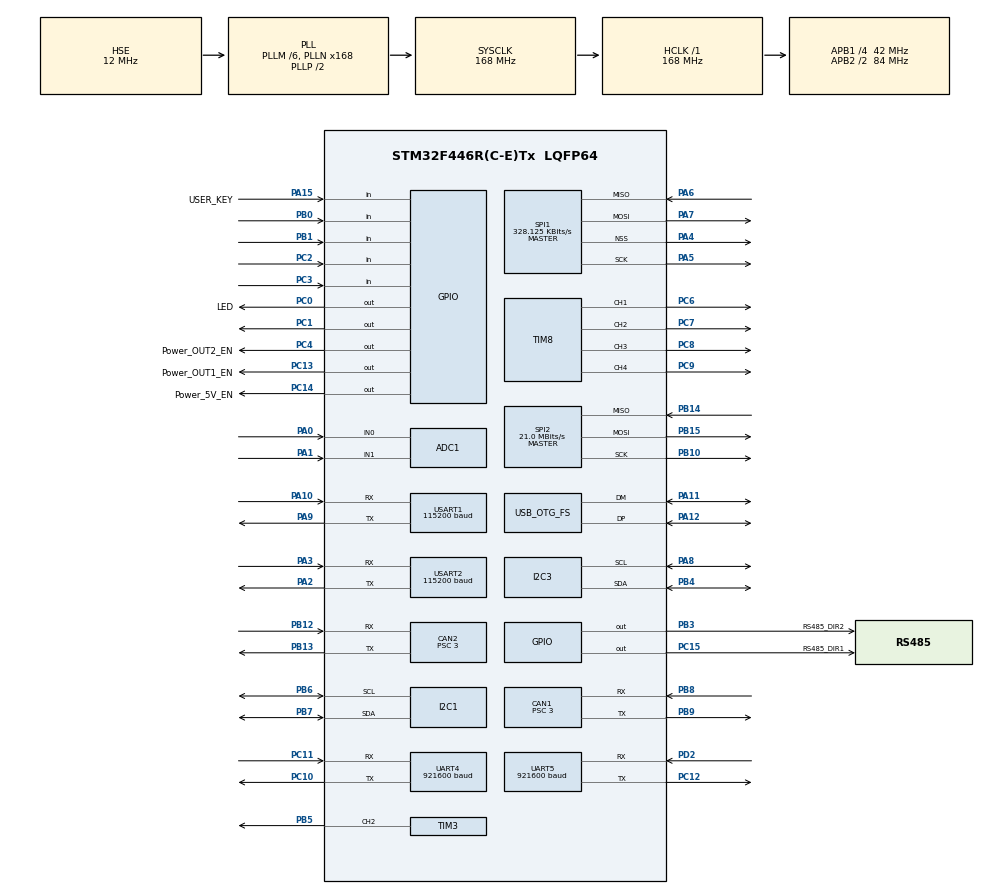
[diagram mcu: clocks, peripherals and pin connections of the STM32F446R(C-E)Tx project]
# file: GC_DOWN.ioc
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ADC1.Channel-0\#ChannelRegularConversion=ADC_CHANNEL_0
ADC1.NbrOfConversionFlag=1
ADC1.Rank-0\#ChannelRegularConversion=1
ADC1.SamplingTime-0\#ChannelRegularConversion=ADC_SAMPLETIME_3CYCLES
ADC1.master=1
CAN1.BS1=CAN_BS1_10TQ
CAN1.BS2=CAN_BS2_3TQ
CAN1.CalculateBaudRate=1000000
CAN1.CalculateTimeBit=1000
CAN1.CalculateTimeQuantum=71.42857142857143
CAN1.Prescaler=3
CAN1.SJW=CAN_SJW_1TQ
CAN2.BS1=CAN_BS1_10TQ
CAN2.BS2=CAN_BS2_3TQ
CAN2.CalculateBaudRate=1000000
CAN2.CalculateTimeBit=1000
CAN2.CalculateTimeQuantum=71.42857142857143
CAN2.Prescaler=3
CAN2.SJW=CAN_SJW_2TQ
Dma.Request0=SPI1_RX
Dma.Request1=SPI1_TX
Dma.Request2=USART1_RX
Dma.Request3=USART1_TX
Dma.Request4=USART2_RX
Dma.Request5=USART2_TX
Dma.SPI1_RX.0.Direction=DMA_PERIPH_TO_MEMORY
Dma.SPI1_RX.0.FIFOMode=DMA_FIFOMODE_DISABLE
Dma.SPI1_RX.0.Instance=DMA2_Stream0
Dma.SPI1_RX.0.MemDataAlignment=DMA_MDATAALIGN_BYTE
Dma.SPI1_RX.0.MemInc=DMA_MINC_ENABLE
Dma.SPI1_RX.0.Mode=DMA_NORMAL
Dma.SPI1_RX.0.PeriphDataAlignment=DMA_PDATAALIGN_BYTE
Dma.SPI1_RX.0.PeriphInc=DMA_PINC_DISABLE
Dma.SPI1_RX.0.Priority=DMA_PRIORITY_VERY_HIGH
Dma.SPI1_TX.1.Direction=DMA_MEMORY_TO_PERIPH
Dma.SPI1_TX.1.FIFOMode=DMA_FIFOMODE_DISABLE
Dma.SPI1_TX.1.Instance=DMA2_Stream3
Dma.SPI1_TX.1.MemDataAlignment=DMA_MDATAALIGN_BYTE
Dma.SPI1_TX.1.MemInc=DMA_MINC_ENABLE
Dma.SPI1_TX.1.Mode=DMA_NORMAL
Dma.SPI1_TX.1.PeriphDataAlignment=DMA_PDATAALIGN_BYTE
Dma.SPI1_TX.1.PeriphInc=DMA_PINC_DISABLE
Dma.SPI1_TX.1.Priority=DMA_PRIORITY_HIGH
Dma.USART1_RX.2.Direction=DMA_PERIPH_TO_MEMORY
Dma.USART1_RX.2.FIFOMode=DMA_FIFOMODE_DISABLE
Dma.USART1_RX.2.Instance=DMA2_Stream2
Dma.USART1_RX.2.MemDataAlignment=DMA_MDATAALIGN_BYTE
Dma.USART1_RX.2.MemInc=DMA_MINC_ENABLE
Dma.USART1_RX.2.Mode=DMA_NORMAL
Dma.USART1_RX.2.PeriphDataAlignment=DMA_PDATAALIGN_BYTE
Dma.USART1_RX.2.PeriphInc=DMA_PINC_DISABLE
Dma.USART1_RX.2.Priority=DMA_PRIORITY_VERY_HIGH
Dma.USART1_TX.3.Direction=DMA_MEMORY_TO_PERIPH
Dma.USART1_TX.3.FIFOMode=DMA_FIFOMODE_DISABLE
Dma.USART1_TX.3.Instance=DMA2_Stream7
Dma.USART1_TX.3.MemDataAlignment=DMA_MDATAALIGN_BYTE
Dma.USART1_TX.3.MemInc=DMA_MINC_ENABLE
Dma.USART1_TX.3.Mode=DMA_NORMAL
Dma.USART1_TX.3.PeriphDataAlignment=DMA_PDATAALIGN_BYTE
Dma.USART1_TX.3.PeriphInc=DMA_PINC_DISABLE
Dma.USART1_TX.3.Priority=DMA_PRIORITY_VERY_HIGH
Dma.USART2_RX.4.Direction=DMA_PERIPH_TO_MEMORY
Dma.USART2_RX.4.FIFOMode=DMA_FIFOMODE_DISABLE
Dma.USART2_RX.4.Instance=DMA1_Stream5
Dma.USART2_RX.4.MemDataAlignment=DMA_MDATAALIGN_BYTE
Dma.USART2_RX.4.MemInc=DMA_MINC_ENABLE
Dma.USART2_RX.4.Mode=DMA_NORMAL
Dma.USART2_RX.4.PeriphDataAlignment=DMA_PDATAALIGN_BYTE
Dma.USART2_RX.4.PeriphInc=DMA_PINC_DISABLE
Dma.USART2_RX.4.Priority=DMA_PRIORITY_VERY_HIGH
Dma.USART2_TX.5.Direction=DMA_MEMORY_TO_PERIPH
Dma.USART2_TX.5.FIFOMode=DMA_FIFOMODE_DISABLE
Dma.USART2_TX.5.Instance=DMA1_Stream6
Dma.USART2_TX.5.MemDataAlignment=DMA_MDATAALIGN_BYTE
Dma.USART2_TX.5.MemInc=DMA_MINC_ENABLE
Dma.USART2_TX.5.Mode=DMA_NORMAL
Dma.USART2_TX.5.PeriphDataAlignment=DMA_PDATAALIGN_BYTE
Dma.USART2_TX.5.PeriphInc=DMA_PINC_DISABLE
Dma.USART2_TX.5.Priority=DMA_PRIORITY_MEDIUM
FREERTOS.Tasks01=defaultTask,0,128,StartDefaultTask,Default,NULL,Dynamic,NULL,NULL
I2C3.I2C_Mode=I2C_Fast
Mcu.Family=STM32F4
Mcu.Name=STM32F446R(C-E)Tx
Mcu.Package=LQFP64
NVIC.CAN1_RX0_IRQn=true\:5\:0\:false\:false\:true\:true\:true\:true\:true
NVIC.CAN1_TX_IRQn=true\:5\:0\:false\:false\:true\:true\:true\:true\:true
NVIC.CAN2_RX0_IRQn=true\:5\:0\:false\:false\:true\:true\:true\:true\:true
NVIC.CAN2_TX_IRQn=true\:5\:0\:false\:false\:true\:true\:true\:true\:true
NVIC.DMA1_Stream5_IRQn=true\:5\:0\:false\:false\:true\:true\:false\:true\:true
NVIC.DMA1_Stream6_IRQn=true\:5\:0\:false\:false\:true\:true\:false\:true\:true
NVIC.DMA2_Stream0_IRQn=true\:5\:0\:false\:false\:true\:true\:false\:true\:true
NVIC.DMA2_Stream2_IRQn=true\:5\:0\:false\:false\:true\:true\:false\:true\:true
NVIC.DMA2_Stream3_IRQn=true\:5\:0\:false\:false\:true\:true\:false\:true\:true
NVIC.DMA2_Stream7_IRQn=true\:5\:0\:false\:false\:true\:true\:false\:true\:true
NVIC.OTG_FS_IRQn=true\:5\:0\:false\:false\:true\:true\:false\:true\:true
NVIC.PriorityGroup=NVIC_PRIORITYGROUP_4
NVIC.TIM2_IRQn=true\:15\:0\:false\:false\:true\:false\:false\:true\:true
NVIC.TimeBase=TIM2_IRQn
NVIC.TimeBaseIP=TIM2
NVIC.USART1_IRQn=true\:5\:0\:false\:false\:true\:true\:true\:true\:true
NVIC.USART2_IRQn=true\:5\:0\:false\:false\:true\:true\:true\:true\:true
PA0-WKUP.GPIO_Mode=GPIO_MODE_ANALOG
PA0-WKUP.GPIO_PuPd=GPIO_NOPULL
PA0-WKUP.Signal=ADCx_IN0
PA1.GPIO_Mode=GPIO_MODE_ANALOG
PA1.GPIO_PuPd=GPIO_NOPULL
PA1.Signal=ADCx_IN1
PA10.Mode=Asynchronous
PA10.Signal=USART1_RX
PA11.Mode=Device_Only
PA11.Signal=USB_OTG_FS_DM
PA12.Mode=Device_Only
PA12.Signal=USB_OTG_FS_DP
PA13.Mode=Serial_Wire
PA13.Signal=SYS_JTMS-SWDIO
PA14.Mode=Serial_Wire
PA14.Signal=SYS_JTCK-SWCLK
PA15.GPIO_Label=USER_KEY
PA15.Signal=GPIO_Input
PA2.Mode=Asynchronous
PA2.Signal=USART2_TX
PA3.Mode=Asynchronous
PA3.Signal=USART2_RX
PA4.Mode=NSS_Signal_Hard_Output
PA4.Signal=SPI1_NSS
PA5.Mode=Full_Duplex_Master
PA5.Signal=SPI1_SCK
PA6.Mode=Full_Duplex_Master
PA6.Signal=SPI1_MISO
PA7.Mode=Full_Duplex_Master
PA7.Signal=SPI1_MOSI
PA8.GPIO_Pu=GPIO_PULLUP
PA8.Mode=I2C
PA8.Signal=I2C3_SCL
PA9.Mode=Asynchronous
PA9.Signal=USART1_TX
PB0.GPIO_Mode=GPIO_MODE_INPUT
PB0.GPIO_PuPd=GPIO_NOPULL
PB0.Signal=GPIO_Input
PB1.GPIO_Mode=GPIO_MODE_INPUT
PB1.GPIO_PuPd=GPIO_NOPULL
PB1.Signal=GPIO_Input
PB10.Mode=Full_Duplex_Master
PB10.Signal=SPI2_SCK
PB12.Mode=CAN_Activate
PB12.Signal=CAN2_RX
PB13.Mode=CAN_Activate
PB13.Signal=CAN2_TX
PB14.Mode=Full_Duplex_Master
PB14.Signal=SPI2_MISO
PB15.Mode=Full_Duplex_Master
PB15.Signal=SPI2_MOSI
PB2.GPIO_ModeDefaultPP=GPIO_MODE_AF_PP
PB2.GPIO_PuPd=GPIO_NOPULL
PB2.GPIO_Speed=GPIO_SPEED_FREQ_LOW
PB2.Signal=S_TIM2_CH4
PB3.GPIO_Label=RS485_DIR2
PB3.GPIO_ModeDefaultOutputPP=GPIO_MODE_OUTPUT_PP
PB3.GPIO_PuPd=GPIO_NOPULL
PB3.GPIO_Speed=GPIO_SPEED_FREQ_LOW
PB3.PinState=GPIO_PIN_RESET
PB3.Signal=GPIO_Output
PB4.GPIO_Pu=GPIO_PULLUP
PB4.Mode=I2C
PB4.Signal=I2C3_SDA
PB5.GPIO_PuPd=GPIO_PULLDOWN
PB5.Signal=S_TIM3_CH2
PB6.GPIO_Pu=GPIO_PULLUP
PB6.Mode=I2C
PB6.Signal=I2C1_SCL
PB7.GPIO_Pu=GPIO_PULLUP
PB7.Mode=I2C
PB7.Signal=I2C1_SDA
PB8.Mode=CAN_Activate
PB8.Signal=CAN1_RX
PB9.Mode=CAN_Activate
PB9.Signal=CAN1_TX
PC0.GPIO_Label=LED
PC0.GPIO_ModeDefaultOutputPP=GPIO_MODE_OUTPUT_PP
PC0.GPIO_PuPd=GPIO_NOPULL
PC0.GPIO_Speed=GPIO_SPEED_FREQ_LOW
PC0.PinState=GPIO_PIN_RESET
PC0.Signal=GPIO_Output
PC1.Signal=GPIO_Output
PC10.Mode=Asynchronous
PC10.Signal=UART4_TX
PC11.Mode=Asynchronous
PC11.Signal=UART4_RX
PC12.Mode=Asynchronous
PC12.Signal=UART5_TX
PC13.GPIO_Label=Power_OUT1_EN
PC13.GPIO_ModeDefaultOutputPP=GPIO_MODE_OUTPUT_PP
PC13.GPIO_PuPd=GPIO_NOPULL
PC13.GPIO_Speed=GPIO_SPEED_FREQ_LOW
PC13.PinState=GPIO_PIN_RESET
PC13.Signal=GPIO_Output
PC14-OSC32_IN.GPIO_Label=Power_5V_EN
PC14-OSC32_IN.GPIO_ModeDefaultOutputPP=GPIO_MODE_OUTPUT_PP
PC14-OSC32_IN.GPIO_PuPd=GPIO_NOPULL
PC14-OSC32_IN.GPIO_Speed=GPIO_SPEED_FREQ_LOW
PC14-OSC32_IN.PinState=GPIO_PIN_RESET
PC14-OSC32_IN.Signal=GPIO_Output
PC15-OSC32_OUT.GPIO_Label=RS485_DIR1
PC15-OSC32_OUT.GPIO_ModeDefaultOutputPP=GPIO_MODE_OUTPUT_PP
PC15-OSC32_OUT.GPIO_PuPd=GPIO_NOPULL
PC15-OSC32_OUT.GPIO_Speed=GPIO_SPEED_FREQ_LOW
PC15-OSC32_OUT.PinState=GPIO_PIN_RESET
PC15-OSC32_OUT.Signal=GPIO_Output
PC2.Signal=GPIO_Input
PC3.Signal=GPIO_Input
PC4.GPIO_Label=Power_OUT2_EN
PC4.Signal=GPIO_Output
PC5.Signal=USART3_RX
PC6.Signal=S_TIM8_CH1
PC7.Signal=S_TIM8_CH2
PC8.Signal=S_TIM8_CH3
PC9.Signal=S_TIM8_CH4
PD2.Mode=Asynchronous
PD2.Signal=UART5_RX
PH0-OSC_IN.Mode=HSE-External-Oscillator
PH0-OSC_IN.Signal=RCC_OSC_IN
PH1-OSC_OUT.Mode=HSE-External-Oscillator
PH1-OSC_OUT.Signal=RCC_OSC_OUT
ProjectManager.HeapSize=0x400
ProjectManager.StackSize=0x800
ProjectManager.TargetToolchain=MDK-ARM V5.27
RCC.AHBFreq_Value=168000000
RCC.APB1CLKDivider=RCC_HCLK_DIV4
RCC.APB1Freq_Value=42000000
RCC.APB1TimFreq_Value=84000000
RCC.APB2CLKDivider=RCC_HCLK_DIV2
RCC.APB2Freq_Value=84000000
RCC.APB2TimFreq_Value=168000000
RCC.CortexFreq_Value=168000000
RCC.HCLKFreq_Value=168000000
RCC.HSE_VALUE=12000000
RCC.PLLM=6
RCC.PLLN=168
RCC.PLLQ=7
RCC.PLLSAIM=6
RCC.PLLSAIN=96
RCC.PLLSAIP=RCC_PLLSAIP_DIV4
RCC.SYSCLKFreq_VALUE=168000000
RCC.SYSCLKSource=RCC_SYSCLKSOURCE_PLLCLK
RCC.USBFreq_Value=48000000
RCC.VCOOutputFreq_Value=336000000
SH.ADCx_IN0.0=ADC1_IN0,IN0
SH.ADCx_IN1.0=ADC1_IN1,IN1
SH.S_TIM2_CH4.0=TIM2_CH4
SH.S_TIM3_CH2.0=TIM3_CH2,PWM Generation2 CH2
SH.S_TIM8_CH1.0=TIM8_CH1,PWM Generation1 CH1
SH.S_TIM8_CH2.0=TIM8_CH2,PWM Generation2 CH2
SH.S_TIM8_CH3.0=TIM8_CH3,PWM Generation3 CH3
SH.S_TIM8_CH4.0=TIM8_CH4,PWM Generation4 CH4
SPI1.BaudRatePrescaler=SPI_BAUDRATEPRESCALER_256
SPI1.CLKPhase=SPI_PHASE_2EDGE
SPI1.CLKPolarity=SPI_POLARITY_HIGH
SPI1.CalculateBaudRate=328.125 KBits/s
SPI1.Direction=SPI_DIRECTION_2LINES
SPI1.Mode=SPI_MODE_MASTER
SPI1.VirtualNSS=VM_NSSHARD
SPI1.VirtualType=VM_MASTER
SPI2.BaudRatePrescaler=SPI_BAUDRATEPRESCALER_2
SPI2.CalculateBaudRate=21.0 MBits/s
SPI2.Direction=SPI_DIRECTION_2LINES
SPI2.Mode=SPI_MODE_MASTER
SPI2.VirtualType=VM_MASTER
TIM3.Channel-PWM\ Generation2\ CH2=TIM_CHANNEL_2
TIM8.Channel-PWM\ Generation1\ CH1=TIM_CHANNEL_1
TIM8.Channel-PWM\ Generation2\ CH2=TIM_CHANNEL_2
TIM8.Channel-PWM\ Generation3\ CH3=TIM_CHANNEL_3
TIM8.Channel-PWM\ Generation4\ CH4=TIM_CHANNEL_4
UART4.BaudRate=921600
UART4.VirtualMode=Asynchronous
UART5.BaudRate=921600
UART5.VirtualMode=Asynchronous
USART1.BaudRate=115200
USART1.VirtualMode=VM_ASYNC
USART2.BaudRate=115200
USART2.VirtualMode=VM_ASYNC
USB_DEVICE.CLASS_NAME_FS=CDC
USB_DEVICE.VirtualMode-CDC_FS=Cdc
USB_DEVICE.VirtualModeFS=Cdc_FS
USB_OTG_FS.VirtualMode=Device_Only
VP_FREERTOS_VS_CMSIS_V1.Mode=CMSIS_V1
VP_SYS_VS_tim2.Mode=TIM2
VP_USB_DEVICE_VS_USB_DEVICE_CDC_FS.Mode=CDC_FS
board=custom

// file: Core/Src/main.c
/* USER CODE BEGIN Header */
/**
  ******************************************************************************
  * @file           : main.c
  * @brief          : Main program body
  ******************************************************************************
  * @attention
  *
  * Copyright (c) 2024 STMicroelectronics.
  * All rights reserved.
  *
  * This software is licensed under terms that can be found in the LICENSE file
  * in the root directory of this software component.
  * If no LICENSE file comes with this software, it is provided AS-IS.
  *
  ******************************************************************************
  */
/* USER CODE END Header */
#include "main.h"
#include "cmsis_os.h"
#include "adc.h"
#include "can.h"
#include "dma.h"
#include "i2c.h"
#include "spi.h"
#include "tim.h"
#include "usart.h"
#include "usb_device.h"
#include "gpio.h"

void SystemClock_Config(void);
void MX_FREERTOS_Init(void);
/* USER CODE BEGIN PFP */

//全局变量

float target_speed[7];//实测最大空载转速320rpm
moto_info_t motor_info[MOTOR_MAX_NUM];		//赋予最大的7个字节
moto_info_t motor_info_can_2[MOTOR_MAX_NUM];		//赋予最大的7个字节
pid_struct_t motor_pid[7];
pid_struct_t motor_pid_can_2[7];
uint8_t can_flag=0;
uint8_t remote_flag=0;
double step=9158/660;
double r;
double sin_sita;
double cos_sita;
double target_v;
int16_t target_int1;
int16_t target_int2;//用于叠加旋转和直行
double target_curl;
float yuntai_step=60*(1024-364);

/* USER CODE END PFP */

int main(void)
{

  /* MCU Configuration--------------------------------------------------------*/

  /* Reset of all peripherals, Initializes the Flash interface and the Systick. */
  HAL_Init();

  /* Configure the system clock */
  SystemClock_Config();

  /* Initialize all configured peripherals */
  MX_GPIO_Init();
  MX_DMA_Init();
  MX_CAN1_Init();
  MX_CAN2_Init();
  MX_SPI1_Init();
  MX_UART4_Init();
  MX_UART5_Init();
  MX_USART1_UART_Init();
  MX_ADC1_Init();
  MX_I2C1_Init();
  MX_TIM8_Init();
  MX_I2C3_Init();
  MX_SPI2_Init();
  MX_USART2_UART_Init();
  MX_TIM3_Init();
  /* USER CODE BEGIN 2 */
	HAL_TIM_PWM_Start(&htim8,TIM_CHANNEL_1);
	HAL_NVIC_SetPriority(TIM2_IRQn, 0, 0);//修改TIM2中断优先级
	CAN1_Init();
  CAN2_Init();
  USART6_Init();
	USART3_Init();
  /* USER CODE END 2 */

  /* Call init function for freertos objects (in freertos.c) */
  MX_FREERTOS_Init();

  /* Start scheduler */
  osKernelStart();

  /* We should never get here as control is now taken by the scheduler */
  /* Infinite loop */
  while (1)
  {

  }
}

void SystemClock_Config(void)
{
  RCC_OscInitTypeDef RCC_OscInitStruct = {0};
  RCC_ClkInitTypeDef RCC_ClkInitStruct = {0};

  /** Configure the main internal regulator output voltage
  */
  __HAL_RCC_PWR_CLK_ENABLE();
  __HAL_PWR_VOLTAGESCALING_CONFIG(PWR_REGULATOR_VOLTAGE_SCALE1);

  /** Initializes the RCC Oscillators according to the specified parameters
  * in the RCC_OscInitTypeDef structure.
  */
  RCC_OscInitStruct.OscillatorType = RCC_OSCILLATORTYPE_HSE;
  RCC_OscInitStruct.HSEState = RCC_HSE_ON;
  RCC_OscInitStruct.PLL.PLLState = RCC_PLL_ON;
  RCC_OscInitStruct.PLL.PLLSource = RCC_PLLSOURCE_HSE;
  RCC_OscInitStruct.PLL.PLLM = 6;
  RCC_OscInitStruct.PLL.PLLN = 168;
  RCC_OscInitStruct.PLL.PLLP = RCC_PLLP_DIV2;
  RCC_OscInitStruct.PLL.PLLQ = 7;
  RCC_OscInitStruct.PLL.PLLR = 2;
  if (HAL_RCC_OscConfig(&RCC_OscInitStruct) != HAL_OK)
  {
    Error_Handler();
  }

  /** Initializes the CPU, AHB and APB buses clocks
  */
  RCC_ClkInitStruct.ClockType = RCC_CLOCKTYPE_HCLK|RCC_CLOCKTYPE_SYSCLK
                              |RCC_CLOCKTYPE_PCLK1|RCC_CLOCKTYPE_PCLK2;
  RCC_ClkInitStruct.SYSCLKSource = RCC_SYSCLKSOURCE_PLLCLK;
  RCC_ClkInitStruct.AHBCLKDivider = RCC_SYSCLK_DIV1;
  RCC_ClkInitStruct.APB1CLKDivider = RCC_HCLK_DIV4;
  RCC_ClkInitStruct.APB2CLKDivider = RCC_HCLK_DIV2;

  if (HAL_RCC_ClockConfig(&RCC_ClkInitStruct, FLASH_LATENCY_5) != HAL_OK)
  {
    Error_Handler();
  }
}

void HAL_TIM_PeriodElapsedCallback(TIM_HandleTypeDef *htim)
{
  if (htim->Instance == TIM2) {
    HAL_IncTick();
  }
}

void Error_Handler(void)
{
  __disable_irq();
  while (1)
  {
  }
}
